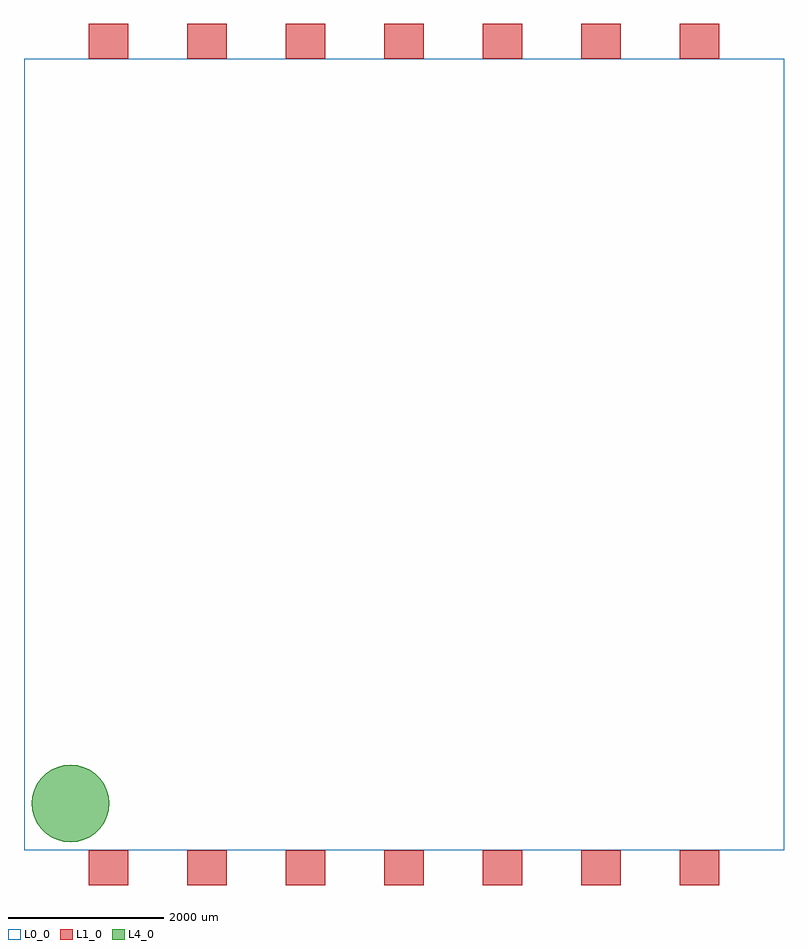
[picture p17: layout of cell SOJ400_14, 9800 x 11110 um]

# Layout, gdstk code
import gdstk
lib = gdstk.Library(unit=1e-6, precision=1e-09)
def R(c, l, rs):  # rectangles x0, y0, x1, y1
    for r in rs: c.add(gdstk.rectangle(r[:2], r[2:], *l))
def A(c, l, x, y, w, h, nx, ny, dx, dy):  # array of equal rectangles
    R(c, l, [(x+i*dx, y+j*dy, x+i*dx+w, y+j*dy+h) for i in range(nx) for j in range(ny)])
def P(c, l, *ps):  # polygons
    for p in ps: c.add(gdstk.Polygon(p, *l))
L0_0 = (0, 0)
L1_0 = (1, 0)
L4_0 = (4, 0)
L99_1 = (99, 1)
L99_2 = (99, 2)
L99_3 = (99, 3)
L99_4 = (99, 4)
L99_5 = (99, 5)
L99_6 = (99, 6)
L99_7 = (99, 7)
L99_8 = (99, 8)
L99_9 = (99, 9)
L99_10 = (99, 10)
L99_11 = (99, 11)
L99_12 = (99, 12)
L99_13 = (99, 13)
L99_14 = (99, 14)

soj400_14 = lib.new_cell('SOJ400_14')
R(soj400_14, L0_0, [(0,0,9800,10200)])
A(soj400_14, L1_0, 835, -455, 510, 455, 7, 2, 1270, 10655)
P(soj400_14, L4_0, [(1100,600),(1092.404,513.176),(1069.846,428.99),(1033.013,350),(983.022,278.606),(921.394,216.978),(850,166.987),(771.01,130.154),(686.824,107.596),(600,100),(513.176,107.596),(428.99,130.154),(350,166.987),(278.606,216.978),(216.978,278.606),(166.987,350),(130.154,428.99),(107.596,513.176),(100,600),(107.596,686.824),(130.154,771.01),(166.987,850),(216.978,921.394),(278.606,983.022),(350,1033.013),(428.99,1069.846),(513.176,1092.404),(600,1100),(686.824,1092.404),(771.01,1069.846),(850,1033.013),(921.394,983.022),(983.022,921.394),(1033.013,850),(1069.846,771.01),(1092.404,686.824)])
soj400_14.add(gdstk.FlexPath([(1345,0),(835,0)], 0, ends="round", simple_path=True, layer=99, datatype=1))  # L99_1
soj400_14.add(gdstk.FlexPath([(2615,0),(2105,0)], 0, ends="round", simple_path=True, layer=99, datatype=2))  # L99_2
soj400_14.add(gdstk.FlexPath([(3885,0),(3375,0)], 0, ends="round", simple_path=True, layer=99, datatype=3))  # L99_3
soj400_14.add(gdstk.FlexPath([(5155,0),(4645,0)], 0, ends="round", simple_path=True, layer=99, datatype=4))  # L99_4
soj400_14.add(gdstk.FlexPath([(6425,0),(5915,0)], 0, ends="round", simple_path=True, layer=99, datatype=5))  # L99_5
soj400_14.add(gdstk.FlexPath([(7695,0),(7185,0)], 0, ends="round", simple_path=True, layer=99, datatype=6))  # L99_6
soj400_14.add(gdstk.FlexPath([(8965,0),(8455,0)], 0, ends="round", simple_path=True, layer=99, datatype=7))  # L99_7
soj400_14.add(gdstk.FlexPath([(835,10200),(1345,10200)], 0, ends="round", simple_path=True, layer=99, datatype=14))  # L99_14
soj400_14.add(gdstk.FlexPath([(2105,10200),(2615,10200)], 0, ends="round", simple_path=True, layer=99, datatype=13))  # L99_13
soj400_14.add(gdstk.FlexPath([(3375,10200),(3885,10200)], 0, ends="round", simple_path=True, layer=99, datatype=12))  # L99_12
soj400_14.add(gdstk.FlexPath([(4645,10200),(5155,10200)], 0, ends="round", simple_path=True, layer=99, datatype=11))  # L99_11
soj400_14.add(gdstk.FlexPath([(5915,10200),(6425,10200)], 0, ends="round", simple_path=True, layer=99, datatype=10))  # L99_10
soj400_14.add(gdstk.FlexPath([(7185,10200),(7695,10200)], 0, ends="round", simple_path=True, layer=99, datatype=9))  # L99_9
soj400_14.add(gdstk.FlexPath([(8455,10200),(8965,10200)], 0, ends="round", simple_path=True, layer=99, datatype=8))  # L99_8

lib.write_gds('SOJ400_14.gds')
